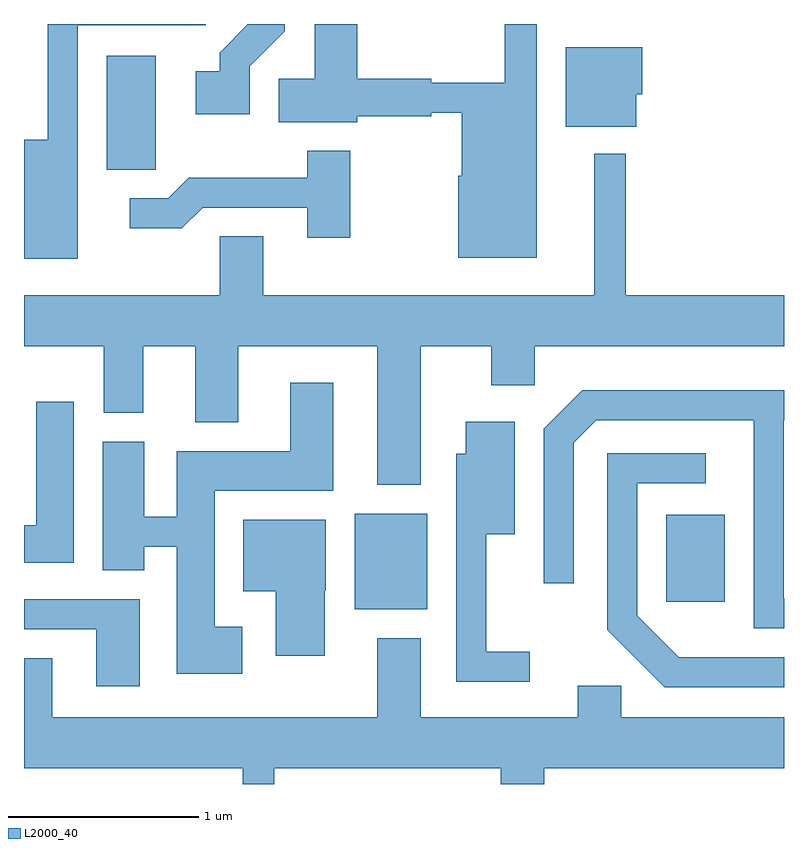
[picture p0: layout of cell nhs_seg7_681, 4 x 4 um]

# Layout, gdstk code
import gdstk
lib = gdstk.Library(unit=1e-6, precision=1e-09)
def R(c, l, rs):  # rectangles x0, y0, x1, y1
    for r in rs: c.add(gdstk.rectangle(r[:2], r[2:], *l))
def P(c, l, *ps):  # polygons
    for p in ps: c.add(gdstk.Polygon(p, *l))
L2000_40 = (2000, 40)

nhs_seg7_681 = lib.new_cell('nhs_seg7_681')
R(nhs_seg7_681, L2000_40, [(207.351,1695.171,207.734,1695.674), (208.991,1695.211,209.299,1695.669), (206.046,1697.486,206.304,1698.084)])
P(nhs_seg7_681, L2000_40, [(208.309,1698.252),(208.141,1698.252),(208.141,1697.944),(207.754,1697.944),(207.754,1697.964),(207.364,1697.964),(207.364,1698.252),(207.141,1698.252),(207.141,1697.964),(206.951,1697.964),(206.951,1697.736),(207.364,1697.736),(207.364,1697.766),(207.754,1697.766),(207.754,1697.786),(207.916,1697.786),(207.916,1697.454),(207.896,1697.454),(207.896,1697.021),(208.309,1697.021)],
  [(205.894,1698.246),(206.568,1698.246),(206.568,1698.252),(205.736,1698.252),(205.736,1697.644),(205.611,1697.644),(205.611,1697.016),(205.894,1697.016)],
  [(206.799,1698.029),(206.984,1698.214),(206.984,1698.252),(206.786,1698.252),(206.786,1698.247),(206.641,1698.102),(206.641,1698.004),(206.516,1698.004),(206.516,1697.776),(206.799,1697.776)],
  [(208.834,1697.881),(208.864,1697.881),(208.864,1698.129),(208.461,1698.129),(208.461,1697.711),(208.834,1697.711)],
  [(207.329,1697.584),(207.101,1697.584),(207.101,1697.444),(206.479,1697.444),(206.369,1697.334),(206.168,1697.334),(206.168,1697.176),(206.442,1697.176),(206.552,1697.286),(207.101,1697.286),(207.101,1697.126),(207.329,1697.126)],
  [(207.699,1696.556),(208.071,1696.556),(208.071,1696.351),(208.299,1696.351),(208.299,1696.556),(209.611,1696.556),(209.611,1696.824),(208.779,1696.824),(208.779,1697.568),(208.611,1697.568),(208.611,1696.824),(206.869,1696.824),(206.869,1697.134),(206.641,1697.134),(206.641,1696.824),(205.611,1696.824),(205.611,1696.556),(206.031,1696.556),(206.031,1696.206),(206.239,1696.206),(206.239,1696.556),(206.511,1696.556),(206.511,1696.156),(206.739,1696.156),(206.739,1696.556),(207.471,1696.556),(207.471,1695.826),(207.699,1695.826)],
  [(206.759,1695.079),(206.614,1695.079),(206.614,1695.796),(207.239,1695.796),(207.239,1696.364),(207.011,1696.364),(207.011,1696.004),(206.416,1696.004),(206.416,1695.659),(206.244,1695.659),(206.244,1696.054),(206.026,1696.054),(206.026,1695.376),(206.244,1695.376),(206.244,1695.501),(206.416,1695.501),(206.416,1694.831),(206.759,1694.831)],
  [(209.611,1695.229),(209.609,1695.229),(209.609,1696.166),(209.611,1696.166),(209.611,1696.324),(208.549,1696.324),(208.346,1696.122),(208.346,1695.308),(208.504,1695.308),(208.504,1696.049),(208.622,1696.166),(209.451,1696.166),(209.451,1695.071),(209.611,1695.071)],
  [(205.874,1696.264),(205.676,1696.264),(205.676,1695.614),(205.611,1695.614),(205.611,1695.416),(205.874,1695.416)],
  [(208.273,1694.949),(208.044,1694.949),(208.044,1695.566),(208.194,1695.566),(208.194,1696.159),(207.936,1696.159),(207.936,1695.989),(207.886,1695.989),(207.886,1694.791),(208.273,1694.791)],
  [(209.611,1694.919),(209.057,1694.919),(208.839,1695.137),(208.839,1695.836),(209.198,1695.836),(209.198,1695.994),(208.681,1695.994),(208.681,1695.064),(208.984,1694.761),(209.611,1694.761)],
  [(207.194,1695.27),(207.199,1695.27),(207.199,1695.644),(206.766,1695.644),(206.766,1695.266),(206.936,1695.266),(206.936,1694.926),(207.194,1694.926)],
  [(206.219,1695.224),(205.611,1695.224),(205.611,1695.066),(205.991,1695.066),(205.991,1694.766),(206.219,1694.766)],
  [(206.929,1694.336),(208.121,1694.336),(208.121,1694.252),(208.349,1694.252),(208.349,1694.336),(209.611,1694.336),(209.611,1694.604),(208.754,1694.604),(208.754,1694.769),(208.526,1694.769),(208.526,1694.604),(207.699,1694.604),(207.699,1695.019),(207.471,1695.019),(207.471,1694.604),(205.759,1694.604),(205.759,1694.914),(205.611,1694.914),(205.611,1694.336),(206.761,1694.336),(206.761,1694.252),(206.929,1694.252)])

lib.write_gds('nhs_seg7_681.gds')
